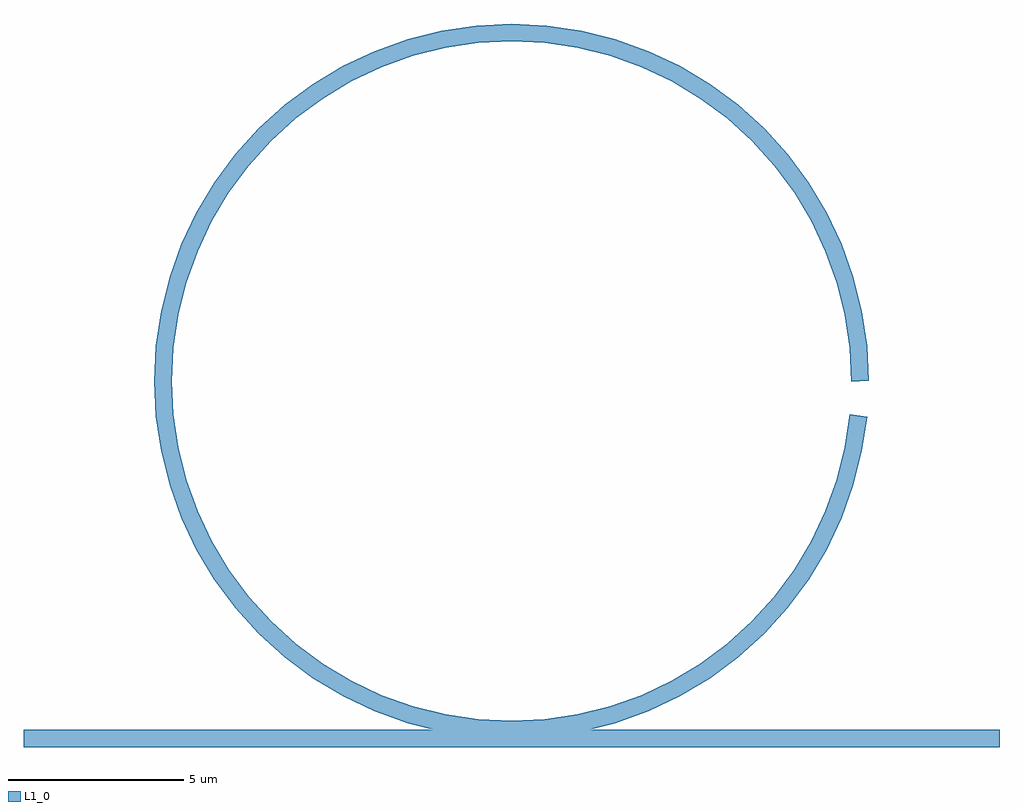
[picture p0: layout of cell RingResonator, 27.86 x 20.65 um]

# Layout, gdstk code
import gdstk
lib = gdstk.Library(unit=1e-6, precision=1e-09)
L1_0 = (1, 0)

ringresonator = lib.new_cell('RingResonator')
ringresonator.add(gdstk.FlexPath([(9.95,0),(9.902,0.975),(9.759,1.941),(9.521,2.888),(9.192,3.808),(8.775,4.69),(8.273,5.528),(7.691,6.312),(7.036,7.036),(6.312,7.691),(5.528,8.273),(4.69,8.775),(3.808,9.192),(2.888,9.521),(1.941,9.759),(0.975,9.902),(0,9.95),(-0.975,9.902),(-1.941,9.759),(-2.888,9.521),(-3.808,9.192),(-4.69,8.775),(-5.528,8.273),(-6.312,7.691),(-7.036,7.036),(-7.691,6.312),(-8.273,5.528),(-8.775,4.69),(-9.192,3.808),(-9.521,2.888),(-9.759,1.941),(-9.902,0.975),(-9.95,0),(-9.902,-0.975),(-9.759,-1.941),(-9.521,-2.888),(-9.192,-3.808),(-8.775,-4.69),(-8.273,-5.528),(-7.691,-6.312),(-7.036,-7.036),(-6.312,-7.691),(-5.528,-8.273),(-4.69,-8.775),(-3.808,-9.192),(-2.888,-9.521),(-1.941,-9.759),(-0.975,-9.902),(0,-9.95),(0.975,-9.902),(1.941,-9.759),(2.888,-9.521),(3.808,-9.192),(4.69,-8.775),(5.528,-8.273),(6.312,-7.691),(7.036,-7.036),(7.691,-6.312),(8.273,-5.528),(8.775,-4.69),(9.192,-3.808),(9.521,-2.888),(9.759,-1.941),(9.902,-0.975)], 0.5, ends="flush", simple_path=True, layer=1, datatype=0))  # L1_0
ringresonator.add(gdstk.FlexPath([(-13.93,-10.2),(13.93,-10.2)], 0.5, ends="flush", simple_path=True, layer=1, datatype=0))  # L1_0

lib.write_gds('RingResonator.gds')
